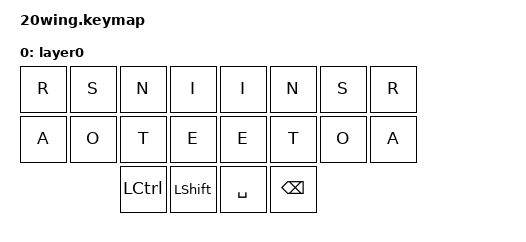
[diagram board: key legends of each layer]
#include <behaviors/mouse_keys.dtsi>
#include <dt-bindings/zmk/mouse.h>
#include <behaviors.dtsi>
#include <dt-bindings/zmk/keys.h>

#define ZMK_POINTING_DEFAULT_MOVE_VAL 1650  // default is 600

/ {
    combos {
        compatible = "zmk,combos";

        bootloader {
            bindings = <&bootloader>;
            key-positions = <0 1 17 6 7 18 16 19>;
        };
    };

    keymap {
        compatible = "zmk,keymap";

        layer0 {
            bindings = <
&kp R  &kp S  &kp N      &kp I      &kp I      &kp N     &kp S  &kp R
&kp A  &kp O  &kp T      &kp E      &kp E      &kp T     &kp O  &kp A
              &kp LCTRL  &kp LSHFT  &kp SPACE  &kp BSPC
            >;
        };
    };
};
